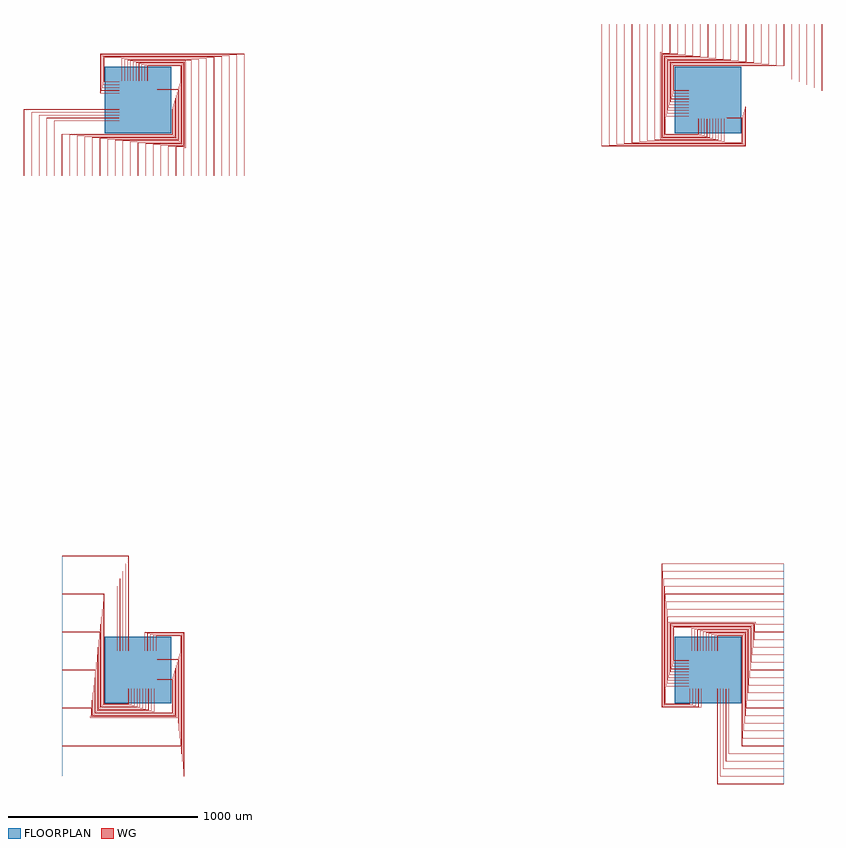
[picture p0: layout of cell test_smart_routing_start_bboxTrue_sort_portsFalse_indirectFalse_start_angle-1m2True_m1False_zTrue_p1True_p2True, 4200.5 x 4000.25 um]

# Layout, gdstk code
import gdstk
lib = gdstk.Library(unit=1e-6, precision=1e-09)
def R(c, l, rs):  # rectangles x0, y0, x1, y1
    for r in rs: c.add(gdstk.rectangle(r[:2], r[2:], *l))
def P(c, l, *ps):  # polygons
    for p in ps: c.add(gdstk.Polygon(p, *l))
WG = (1, 0)
FLOORPLAN = (10, 0)

test_smart_routing_start = lib.new_cell('test_smart_routing_start_bboxTrue_sort_portsFalse_indirectFalse_start_angle-1m2True_m1False_zTrue_p1True_p2True')
P(test_smart_routing_start, WG, [(3100,3050.05),(3100,3050.25),(3599.75,3050.25),(3599.75,3400),(3599.95,3400),(3599.95,3050.05)],
  [(3100,3049.75),(3100,3049.95),(3600.05,3049.95),(3600.05,3400),(3600.25,3400),(3600.25,3049.75)],
  [(3100,3065.05),(3100,3065.25),(3559.75,3065.25),(3559.75,3400),(3559.95,3400),(3559.95,3065.05)],
  [(3100,3064.75),(3100,3064.95),(3560.05,3064.95),(3560.05,3400),(3560.25,3400),(3560.25,3064.75)],
  [(3100,3080.05),(3100,3080.25),(3519.75,3080.25),(3519.75,3400),(3519.95,3400),(3519.95,3080.05)],
  [(3100,3079.75),(3100,3079.95),(3520.05,3079.95),(3520.05,3400),(3520.25,3400),(3520.25,3079.75)],
  [(3100,3095.05),(3100,3095.25),(3479.75,3095.25),(3479.75,3400),(3479.95,3400),(3479.95,3095.05)],
  [(3100,3094.75),(3100,3094.95),(3480.05,3094.95),(3480.05,3400),(3480.25,3400),(3480.25,3094.75)],
  [(3100,3110.05),(3100,3110.25),(3439.75,3110.25),(3439.75,3400),(3439.95,3400),(3439.95,3110.05)],
  [(3100,3109.75),(3100,3109.95),(3440.05,3109.95),(3440.05,3400),(3440.25,3400),(3440.25,3109.75)],
  [(2820.5,3049.75),(2820.5,3179.5),(3399.75,3179.5),(3399.75,3400),(3399.95,3400),(3399.95,3179.3),(2820.7,3179.3),(2820.7,3049.95),(2900,3049.95),(2900,3049.75)],
  [(2820.8,3050.05),(2820.8,3179.2),(3400.05,3179.2),(3400.05,3400),(3400.25,3400),(3400.25,3179),(2821,3179),(2821,3050.25),(2900,3050.25),(2900,3050.05)],
  [(2816,3034.75),(2816,3184),(3359.75,3184),(3359.75,3400),(3359.95,3400),(3359.95,3183.8),(2816.2,3183.8),(2816.2,3034.95),(2900,3034.95),(2900,3034.75)],
  [(2816.3,3035.05),(2816.3,3183.7),(3360.05,3183.7),(3360.05,3400),(3360.25,3400),(3360.25,3183.5),(2816.5,3183.5),(2816.5,3035.25),(2900,3035.25),(2900,3035.05)],
  [(2811.5,3019.75),(2811.5,3188.5),(3319.75,3188.5),(3319.75,3400),(3319.95,3400),(3319.95,3188.3),(2811.7,3188.3),(2811.7,3019.95),(2900,3019.95),(2900,3019.75)],
  [(2811.8,3020.05),(2811.8,3188.2),(3320.05,3188.2),(3320.05,3400),(3320.25,3400),(3320.25,3188),(2812,3188),(2812,3020.25),(2900,3020.25),(2900,3020.05)],
  [(2807,3004.75),(2807,3193),(3279.75,3193),(3279.75,3400),(3279.95,3400),(3279.95,3192.8),(2807.2,3192.8),(2807.2,3004.95),(2900,3004.95),(2900,3004.75)],
  [(2807.3,3005.05),(2807.3,3192.7),(3280.05,3192.7),(3280.05,3400),(3280.25,3400),(3280.25,3192.5),(2807.5,3192.5),(2807.5,3005.25),(2900,3005.25),(2900,3005.05)],
  [(2802.5,2989.75),(2802.5,3197.5),(3239.75,3197.5),(3239.75,3400),(3239.95,3400),(3239.95,3197.3),(2802.7,3197.3),(2802.7,2989.95),(2900,2989.95),(2900,2989.75)],
  [(2802.8,2990.05),(2802.8,3197.2),(3240.05,3197.2),(3240.05,3400),(3240.25,3400),(3240.25,3197),(2803,3197),(2803,2990.25),(2900,2990.25),(2900,2990.05)],
  [(2798,2974.75),(2798,3202),(3199.75,3202),(3199.75,3400),(3199.95,3400),(3199.95,3201.8),(2798.2,3201.8),(2798.2,2974.95),(2900,2974.95),(2900,2974.75)],
  [(2798.3,2975.05),(2798.3,3201.7),(3200.05,3201.7),(3200.05,3400),(3200.25,3400),(3200.25,3201.5),(2798.5,3201.5),(2798.5,2975.25),(2900,2975.25),(2900,2975.05)],
  [(2793.5,2959.75),(2793.5,3206.5),(3159.75,3206.5),(3159.75,3400),(3159.95,3400),(3159.95,3206.3),(2793.7,3206.3),(2793.7,2959.95),(2900,2959.95),(2900,2959.75)],
  [(2793.8,2960.05),(2793.8,3206.2),(3160.05,3206.2),(3160.05,3400),(3160.25,3400),(3160.25,3206),(2794,3206),(2794,2960.25),(2900,2960.25),(2900,2960.05)],
  [(2789,2944.75),(2789,3211),(3119.75,3211),(3119.75,3400),(3119.95,3400),(3119.95,3210.8),(2789.2,3210.8),(2789.2,2944.95),(2900,2944.95),(2900,2944.75)],
  [(2789.3,2945.05),(2789.3,3210.7),(3120.05,3210.7),(3120.05,3400),(3120.25,3400),(3120.25,3210.5),(2789.5,3210.5),(2789.5,2945.25),(2900,2945.25),(2900,2945.05)],
  [(2784.5,2929.75),(2784.5,3215.5),(3079.75,3215.5),(3079.75,3400),(3079.95,3400),(3079.95,3215.3),(2784.7,3215.3),(2784.7,2929.95),(2900,2929.95),(2900,2929.75)],
  [(2784.8,2930.05),(2784.8,3215.2),(3080.05,3215.2),(3080.05,3400),(3080.25,3400),(3080.25,3215),(2785,3215),(2785,2930.25),(2900,2930.25),(2900,2930.05)],
  [(2780,2914.75),(2780,3220),(3039.75,3220),(3039.75,3400),(3039.95,3400),(3039.95,3219.8),(2780.2,3219.8),(2780.2,2914.95),(2900,2914.95),(2900,2914.75)],
  [(2780.3,2915.05),(2780.3,3219.7),(3040.05,3219.7),(3040.05,3400),(3040.25,3400),(3040.25,3219.5),(2780.5,3219.5),(2780.5,2915.25),(2900,2915.25),(2900,2915.05)],
  [(2775.5,2820.5),(2775.5,3224.5),(2999.75,3224.5),(2999.75,3400),(2999.95,3400),(2999.95,3224.3),(2775.7,3224.3),(2775.7,2820.7),(2950.05,2820.7),(2950.05,2900),(2950.25,2900),(2950.25,2820.5)],
  [(2775.8,2820.8),(2775.8,3224.2),(3000.05,3224.2),(3000.05,3400),(3000.25,3400),(3000.25,3224),(2776,3224),(2776,2821),(2949.75,2821),(2949.75,2900),(2949.95,2900),(2949.95,2820.8)],
  [(2771,2816),(2771,3229),(2959.75,3229),(2959.75,3400),(2959.95,3400),(2959.95,3228.8),(2771.2,3228.8),(2771.2,2816.2),(2965.05,2816.2),(2965.05,2900),(2965.25,2900),(2965.25,2816)],
  [(2771.3,2816.3),(2771.3,3228.7),(2960.05,3228.7),(2960.05,3400),(2960.25,3400),(2960.25,3228.5),(2771.5,3228.5),(2771.5,2816.5),(2964.75,2816.5),(2964.75,2900),(2964.95,2900),(2964.95,2816.3)],
  [(2766.5,2811.5),(2766.5,3233.5),(2919.75,3233.5),(2919.75,3400),(2919.95,3400),(2919.95,3233.3),(2766.7,3233.3),(2766.7,2811.7),(2980.05,2811.7),(2980.05,2900),(2980.25,2900),(2980.25,2811.5)],
  [(2766.8,2811.8),(2766.8,3233.2),(2920.05,3233.2),(2920.05,3400),(2920.25,3400),(2920.25,3233),(2767,3233),(2767,2812),(2979.75,2812),(2979.75,2900),(2979.95,2900),(2979.95,2811.8)],
  [(2762,2807),(2762,3238),(2879.75,3238),(2879.75,3400),(2879.95,3400),(2879.95,3237.8),(2762.2,3237.8),(2762.2,2807.2),(2995.05,2807.2),(2995.05,2900),(2995.25,2900),(2995.25,2807)],
  [(2762.3,2807.3),(2762.3,3237.7),(2880.05,3237.7),(2880.05,3400),(2880.25,3400),(2880.25,3237.5),(2762.5,3237.5),(2762.5,2807.5),(2994.75,2807.5),(2994.75,2900),(2994.95,2900),(2994.95,2807.3)],
  [(2757.5,2802.5),(2757.5,3242.5),(2839.75,3242.5),(2839.75,3400),(2839.95,3400),(2839.95,3242.3),(2757.7,3242.3),(2757.7,2802.7),(3010.05,2802.7),(3010.05,2900),(3010.25,2900),(3010.25,2802.5)],
  [(2757.8,2802.8),(2757.8,3242.2),(2840.05,3242.2),(2840.05,3400),(2840.25,3400),(2840.25,3242),(2758,3242),(2758,2803),(3009.75,2803),(3009.75,2900),(3009.95,2900),(3009.95,2802.8)],
  [(2753,2798),(2753,3247),(2799.75,3247),(2799.75,3400),(2799.95,3400),(2799.95,3246.8),(2753.2,3246.8),(2753.2,2798.2),(3025.05,2798.2),(3025.05,2900),(3025.25,2900),(3025.25,2798)],
  [(2753.3,2798.3),(2753.3,3246.7),(2800.05,3246.7),(2800.05,3400),(2800.25,3400),(2800.25,3246.5),(2753.5,3246.5),(2753.5,2798.5),(3024.75,2798.5),(3024.75,2900),(3024.95,2900),(3024.95,2798.3)],
  [(2748.5,2793.5),(2748.5,3251.5),(2759.75,3251.5),(2759.75,3400),(2759.95,3400),(2759.95,3251.3),(2748.7,3251.3),(2748.7,2793.7),(3040.05,2793.7),(3040.05,2900),(3040.25,2900),(3040.25,2793.5)],
  [(2748.8,2793.8),(2748.8,3251.2),(2760.05,3251.2),(2760.05,3400),(2760.25,3400),(2760.25,3251),(2749,3251),(2749,2794),(3039.75,2794),(3039.75,2900),(3039.95,2900),(3039.95,2793.8)],
  [(2719.75,2789),(2719.75,3400),(2719.95,3400),(2719.95,2789.2),(3055.05,2789.2),(3055.05,2900),(3055.25,2900),(3055.25,2789)],
  [(2720.05,2789.3),(2720.05,3400),(2720.25,3400),(2720.25,2789.5),(3054.75,2789.5),(3054.75,2900),(3054.95,2900),(3054.95,2789.3)],
  [(2679.75,2784.5),(2679.75,3400),(2679.95,3400),(2679.95,2784.7),(3070.05,2784.7),(3070.05,2900),(3070.25,2900),(3070.25,2784.5)],
  [(2680.05,2784.8),(2680.05,3400),(2680.25,3400),(2680.25,2785),(3069.75,2785),(3069.75,2900),(3069.95,2900),(3069.95,2784.8)],
  [(2639.75,2780),(2639.75,3400),(2639.95,3400),(2639.95,2780.2),(3085.05,2780.2),(3085.05,2900),(3085.25,2900),(3085.25,2780)],
  [(2640.05,2780.3),(2640.05,3400),(2640.25,3400),(2640.25,2780.5),(3084.75,2780.5),(3084.75,2900),(3084.95,2900),(3084.95,2780.3)],
  [(2439.75,2757.5),(2439.75,3400),(2439.95,3400),(2439.95,2757.7),(3197.3,2757.7),(3197.3,2965.05),(3100,2965.05),(3100,2965.25),(3197.5,2965.25),(3197.5,2757.5)],
  [(2440.05,2757.8),(2440.05,3400),(2440.25,3400),(2440.25,2758),(3197,2758),(3197,2964.75),(3100,2964.75),(3100,2964.95),(3197.2,2964.95),(3197.2,2757.8)],
  [(2479.75,2762),(2479.75,3400),(2479.95,3400),(2479.95,2762.2),(3192.8,2762.2),(3192.8,2950.05),(3100,2950.05),(3100,2950.25),(3193,2950.25),(3193,2762)],
  [(2480.05,2762.3),(2480.05,3400),(2480.25,3400),(2480.25,2762.5),(3192.5,2762.5),(3192.5,2949.75),(3100,2949.75),(3100,2949.95),(3192.7,2949.95),(3192.7,2762.3)],
  [(2519.75,2766.5),(2519.75,3400),(2519.95,3400),(2519.95,2766.7),(3188.3,2766.7),(3188.3,2935.05),(3100,2935.05),(3100,2935.25),(3188.5,2935.25),(3188.5,2766.5)],
  [(2520.05,2766.8),(2520.05,3400),(2520.25,3400),(2520.25,2767),(3188,2767),(3188,2934.75),(3100,2934.75),(3100,2934.95),(3188.2,2934.95),(3188.2,2766.8)],
  [(2559.75,2771),(2559.75,3400),(2559.95,3400),(2559.95,2771.2),(3183.8,2771.2),(3183.8,2920.05),(3100,2920.05),(3100,2920.25),(3184,2920.25),(3184,2771)],
  [(2560.05,2771.3),(2560.05,3400),(2560.25,3400),(2560.25,2771.5),(3183.5,2771.5),(3183.5,2919.75),(3100,2919.75),(3100,2919.95),(3183.7,2919.95),(3183.7,2771.3)],
  [(2599.75,2775.5),(2599.75,3400),(2599.95,3400),(2599.95,2775.7),(3179.3,2775.7),(3179.3,2905.05),(3100,2905.05),(3100,2905.25),(3179.5,2905.25),(3179.5,2775.5)],
  [(2600.05,2775.8),(2600.05,3400),(2600.25,3400),(2600.25,2776),(3179,2776),(3179,2904.75),(3100,2904.75),(3100,2904.95),(3179.2,2904.95),(3179.2,2775.8)],
  [(-599.95,2600),(-599.95,2949.95),(-100,2949.95),(-100,2949.75),(-599.75,2949.75),(-599.75,2600)],
  [(-600.25,2600),(-600.25,2950.25),(-100,2950.25),(-100,2950.05),(-600.05,2950.05),(-600.05,2600)],
  [(-559.95,2600),(-559.95,2934.95),(-100,2934.95),(-100,2934.75),(-559.75,2934.75),(-559.75,2600)],
  [(-560.25,2600),(-560.25,2935.25),(-100,2935.25),(-100,2935.05),(-560.05,2935.05),(-560.05,2600)],
  [(-519.95,2600),(-519.95,2919.95),(-100,2919.95),(-100,2919.75),(-519.75,2919.75),(-519.75,2600)],
  [(-520.25,2600),(-520.25,2920.25),(-100,2920.25),(-100,2920.05),(-520.05,2920.05),(-520.05,2600)],
  [(-479.95,2600),(-479.95,2904.95),(-100,2904.95),(-100,2904.75),(-479.75,2904.75),(-479.75,2600)],
  [(-480.25,2600),(-480.25,2905.25),(-100,2905.25),(-100,2905.05),(-480.05,2905.05),(-480.05,2600)],
  [(-439.95,2600),(-439.95,2889.95),(-100,2889.95),(-100,2889.75),(-439.75,2889.75),(-439.75,2600)],
  [(-440.25,2600),(-440.25,2890.25),(-100,2890.25),(-100,2890.05),(-440.05,2890.05),(-440.05,2600)],
  [(-400.25,2600),(-400.25,2821),(179,2821),(179,2949.75),(100,2949.75),(100,2949.95),(179.2,2949.95),(179.2,2820.8),(-400.05,2820.8),(-400.05,2600)],
  [(-399.95,2600),(-399.95,2820.7),(179.3,2820.7),(179.3,2950.05),(100,2950.05),(100,2950.25),(179.5,2950.25),(179.5,2820.5),(-399.75,2820.5),(-399.75,2600)],
  [(-360.25,2600),(-360.25,2816.5),(183.5,2816.5),(183.5,2964.75),(100,2964.75),(100,2964.95),(183.7,2964.95),(183.7,2816.3),(-360.05,2816.3),(-360.05,2600)],
  [(-359.95,2600),(-359.95,2816.2),(183.8,2816.2),(183.8,2965.05),(100,2965.05),(100,2965.25),(184,2965.25),(184,2816),(-359.75,2816),(-359.75,2600)],
  [(-320.25,2600),(-320.25,2812),(188,2812),(188,2979.75),(100,2979.75),(100,2979.95),(188.2,2979.95),(188.2,2811.8),(-320.05,2811.8),(-320.05,2600)],
  [(-319.95,2600),(-319.95,2811.7),(188.3,2811.7),(188.3,2980.05),(100,2980.05),(100,2980.25),(188.5,2980.25),(188.5,2811.5),(-319.75,2811.5),(-319.75,2600)],
  [(-280.25,2600),(-280.25,2807.5),(192.5,2807.5),(192.5,2994.75),(100,2994.75),(100,2994.95),(192.7,2994.95),(192.7,2807.3),(-280.05,2807.3),(-280.05,2600)],
  [(-279.95,2600),(-279.95,2807.2),(192.8,2807.2),(192.8,2995.05),(100,2995.05),(100,2995.25),(193,2995.25),(193,2807),(-279.75,2807),(-279.75,2600)],
  [(-240.25,2600),(-240.25,2803),(197,2803),(197,3009.75),(100,3009.75),(100,3009.95),(197.2,3009.95),(197.2,2802.8),(-240.05,2802.8),(-240.05,2600)],
  [(-239.95,2600),(-239.95,2802.7),(197.3,2802.7),(197.3,3010.05),(100,3010.05),(100,3010.25),(197.5,3010.25),(197.5,2802.5),(-239.75,2802.5),(-239.75,2600)],
  [(-200.25,2600),(-200.25,2798.5),(201.5,2798.5),(201.5,3024.75),(100,3024.75),(100,3024.95),(201.7,3024.95),(201.7,2798.3),(-200.05,2798.3),(-200.05,2600)],
  [(-199.95,2600),(-199.95,2798.2),(201.8,2798.2),(201.8,3025.05),(100,3025.05),(100,3025.25),(202,3025.25),(202,2798),(-199.75,2798),(-199.75,2600)],
  [(-160.25,2600),(-160.25,2794),(206,2794),(206,3039.75),(100,3039.75),(100,3039.95),(206.2,3039.95),(206.2,2793.8),(-160.05,2793.8),(-160.05,2600)],
  [(-159.95,2600),(-159.95,2793.7),(206.3,2793.7),(206.3,3040.05),(100,3040.05),(100,3040.25),(206.5,3040.25),(206.5,2793.5),(-159.75,2793.5),(-159.75,2600)],
  [(-120.25,2600),(-120.25,2789.5),(210.5,2789.5),(210.5,3054.75),(100,3054.75),(100,3054.95),(210.7,3054.95),(210.7,2789.3),(-120.05,2789.3),(-120.05,2600)],
  [(-119.95,2600),(-119.95,2789.2),(210.8,2789.2),(210.8,3055.05),(100,3055.05),(100,3055.25),(211,3055.25),(211,2789),(-119.75,2789),(-119.75,2600)],
  [(-80.25,2600),(-80.25,2785),(215,2785),(215,3069.75),(100,3069.75),(100,3069.95),(215.2,3069.95),(215.2,2784.8),(-80.05,2784.8),(-80.05,2600)],
  [(-79.95,2600),(-79.95,2784.7),(215.3,2784.7),(215.3,3070.05),(100,3070.05),(100,3070.25),(215.5,3070.25),(215.5,2784.5),(-79.75,2784.5),(-79.75,2600)],
  [(-40.25,2600),(-40.25,2780.5),(219.5,2780.5),(219.5,3084.75),(100,3084.75),(100,3084.95),(219.7,3084.95),(219.7,2780.3),(-40.05,2780.3),(-40.05,2600)],
  [(-39.95,2600),(-39.95,2780.2),(219.8,2780.2),(219.8,3085.05),(100,3085.05),(100,3085.25),(220,3085.25),(220,2780),(-39.75,2780),(-39.75,2600)],
  [(-0.25,2600),(-0.25,2776),(224,2776),(224,3179),(50.25,3179),(50.25,3100),(50.05,3100),(50.05,3179.2),(224.2,3179.2),(224.2,2775.8),(-0.05,2775.8),(-0.05,2600)],
  [(0.05,2600),(0.05,2775.7),(224.3,2775.7),(224.3,3179.3),(49.95,3179.3),(49.95,3100),(49.75,3100),(49.75,3179.5),(224.5,3179.5),(224.5,2775.5),(0.25,2775.5),(0.25,2600)],
  [(39.75,2600),(39.75,2771.5),(228.5,2771.5),(228.5,3183.5),(35.25,3183.5),(35.25,3100),(35.05,3100),(35.05,3183.7),(228.7,3183.7),(228.7,2771.3),(39.95,2771.3),(39.95,2600)],
  [(40.05,2600),(40.05,2771.2),(228.8,2771.2),(228.8,3183.8),(34.95,3183.8),(34.95,3100),(34.75,3100),(34.75,3184),(229,3184),(229,2771),(40.25,2771),(40.25,2600)],
  [(79.75,2600),(79.75,2767),(233,2767),(233,3188),(20.25,3188),(20.25,3100),(20.05,3100),(20.05,3188.2),(233.2,3188.2),(233.2,2766.8),(79.95,2766.8),(79.95,2600)],
  [(80.05,2600),(80.05,2766.7),(233.3,2766.7),(233.3,3188.3),(19.95,3188.3),(19.95,3100),(19.75,3100),(19.75,3188.5),(233.5,3188.5),(233.5,2766.5),(80.25,2766.5),(80.25,2600)],
  [(119.75,2600),(119.75,2762.5),(237.5,2762.5),(237.5,3192.5),(5.25,3192.5),(5.25,3100),(5.05,3100),(5.05,3192.7),(237.7,3192.7),(237.7,2762.3),(119.95,2762.3),(119.95,2600)],
  [(120.05,2600),(120.05,2762.2),(237.8,2762.2),(237.8,3192.8),(4.95,3192.8),(4.95,3100),(4.75,3100),(4.75,3193),(238,3193),(238,2762),(120.25,2762),(120.25,2600)],
  [(159.75,2600),(159.75,2758),(242,2758),(242,3197),(-9.75,3197),(-9.75,3100),(-9.95,3100),(-9.95,3197.2),(242.2,3197.2),(242.2,2757.8),(159.95,2757.8),(159.95,2600)],
  [(160.05,2600),(160.05,2757.7),(242.3,2757.7),(242.3,3197.3),(-10.05,3197.3),(-10.05,3100),(-10.25,3100),(-10.25,3197.5),(242.5,3197.5),(242.5,2757.5),(160.25,2757.5),(160.25,2600)],
  [(199.75,2600),(199.75,2753.5),(246.5,2753.5),(246.5,3201.5),(-24.75,3201.5),(-24.75,3100),(-24.95,3100),(-24.95,3201.7),(246.7,3201.7),(246.7,2753.3),(199.95,2753.3),(199.95,2600)],
  [(200.05,2600),(200.05,2753.2),(246.8,2753.2),(246.8,3201.8),(-25.05,3201.8),(-25.05,3100),(-25.25,3100),(-25.25,3202),(247,3202),(247,2753),(200.25,2753),(200.25,2600)],
  [(239.75,2600),(239.75,2749),(251,2749),(251,3206),(-39.75,3206),(-39.75,3100),(-39.95,3100),(-39.95,3206.2),(251.2,3206.2),(251.2,2748.8),(239.95,2748.8),(239.95,2600)],
  [(240.05,2600),(240.05,2748.7),(251.3,2748.7),(251.3,3206.3),(-40.05,3206.3),(-40.05,3100),(-40.25,3100),(-40.25,3206.5),(251.5,3206.5),(251.5,2748.5),(240.25,2748.5),(240.25,2600)],
  [(279.75,2600),(279.75,3210.5),(-54.75,3210.5),(-54.75,3100),(-54.95,3100),(-54.95,3210.7),(279.95,3210.7),(279.95,2600)],
  [(280.05,2600),(280.05,3210.8),(-55.05,3210.8),(-55.05,3100),(-55.25,3100),(-55.25,3211),(280.25,3211),(280.25,2600)],
  [(319.75,2600),(319.75,3215),(-69.75,3215),(-69.75,3100),(-69.95,3100),(-69.95,3215.2),(319.95,3215.2),(319.95,2600)],
  [(320.05,2600),(320.05,3215.3),(-70.05,3215.3),(-70.05,3100),(-70.25,3100),(-70.25,3215.5),(320.25,3215.5),(320.25,2600)],
  [(359.75,2600),(359.75,3219.5),(-84.75,3219.5),(-84.75,3100),(-84.95,3100),(-84.95,3219.7),(359.95,3219.7),(359.95,2600)],
  [(360.05,2600),(360.05,3219.8),(-85.05,3219.8),(-85.05,3100),(-85.25,3100),(-85.25,3220),(360.25,3220),(360.25,2600)],
  [(559.75,2600),(559.75,3242),(-197,3242),(-197,3035.25),(-100,3035.25),(-100,3035.05),(-197.2,3035.05),(-197.2,3242.2),(559.95,3242.2),(559.95,2600)],
  [(560.05,2600),(560.05,3242.3),(-197.3,3242.3),(-197.3,3034.95),(-100,3034.95),(-100,3034.75),(-197.5,3034.75),(-197.5,3242.5),(560.25,3242.5),(560.25,2600)],
  [(519.75,2600),(519.75,3237.5),(-192.5,3237.5),(-192.5,3050.25),(-100,3050.25),(-100,3050.05),(-192.7,3050.05),(-192.7,3237.7),(519.95,3237.7),(519.95,2600)],
  [(520.05,2600),(520.05,3237.8),(-192.8,3237.8),(-192.8,3049.95),(-100,3049.95),(-100,3049.75),(-193,3049.75),(-193,3238),(520.25,3238),(520.25,2600)],
  [(479.75,2600),(479.75,3233),(-188,3233),(-188,3065.25),(-100,3065.25),(-100,3065.05),(-188.2,3065.05),(-188.2,3233.2),(479.95,3233.2),(479.95,2600)],
  [(480.05,2600),(480.05,3233.3),(-188.3,3233.3),(-188.3,3064.95),(-100,3064.95),(-100,3064.75),(-188.5,3064.75),(-188.5,3233.5),(480.25,3233.5),(480.25,2600)],
  [(439.75,2600),(439.75,3228.5),(-183.5,3228.5),(-183.5,3080.25),(-100,3080.25),(-100,3080.05),(-183.7,3080.05),(-183.7,3228.7),(439.95,3228.7),(439.95,2600)],
  [(440.05,2600),(440.05,3228.8),(-183.8,3228.8),(-183.8,3079.95),(-100,3079.95),(-100,3079.75),(-184,3079.75),(-184,3229),(440.25,3229),(440.25,2600)],
  [(399.75,2600),(399.75,3224),(-179,3224),(-179,3095.25),(-100,3095.25),(-100,3095.05),(-179.2,3095.05),(-179.2,3224.2),(399.95,3224.2),(399.95,2600)],
  [(400.05,2600),(400.05,3224.3),(-179.3,3224.3),(-179.3,3094.95),(-100,3094.95),(-100,3094.75),(-179.5,3094.75),(-179.5,3224.5),(400.25,3224.5),(400.25,2600)],
  [(-50.25,100),(-50.25,599.75),(-400,599.75),(-400,599.95),(-50.05,599.95),(-50.05,100)],
  [(-49.95,100),(-49.95,600.05),(-400,600.05),(-400,600.25),(-49.75,600.25),(-49.75,100)],
  [(-65.25,100),(-65.25,559.75),(-400,559.75),(-400,559.95),(-65.05,559.95),(-65.05,100)],
  [(-64.95,100),(-64.95,560.05),(-400,560.05),(-400,560.25),(-64.75,560.25),(-64.75,100)],
  [(-80.25,100),(-80.25,519.75),(-400,519.75),(-400,519.95),(-80.05,519.95),(-80.05,100)],
  [(-79.95,100),(-79.95,520.05),(-400,520.05),(-400,520.25),(-79.75,520.25),(-79.75,100)],
  [(-95.25,100),(-95.25,479.75),(-400,479.75),(-400,479.95),(-95.05,479.95),(-95.05,100)],
  [(-94.95,100),(-94.95,480.05),(-400,480.05),(-400,480.25),(-94.75,480.25),(-94.75,100)],
  [(-110.25,100),(-110.25,439.75),(-400,439.75),(-400,439.95),(-110.05,439.95),(-110.05,100)],
  [(-109.95,100),(-109.95,440.05),(-400,440.05),(-400,440.25),(-109.75,440.25),(-109.75,100)],
  [(-179.5,-179.5),(-179.5,399.75),(-400,399.75),(-400,399.95),(-179.3,399.95),(-179.3,-179.3),(-49.95,-179.3),(-49.95,-100),(-49.75,-100),(-49.75,-179.5)],
  [(-179.2,-179.2),(-179.2,400.05),(-400,400.05),(-400,400.25),(-179,400.25),(-179,-179),(-50.25,-179),(-50.25,-100),(-50.05,-100),(-50.05,-179.2)],
  [(-184,-184),(-184,359.75),(-400,359.75),(-400,359.95),(-183.8,359.95),(-183.8,-183.8),(-34.95,-183.8),(-34.95,-100),(-34.75,-100),(-34.75,-184)],
  [(-183.7,-183.7),(-183.7,360.05),(-400,360.05),(-400,360.25),(-183.5,360.25),(-183.5,-183.5),(-35.25,-183.5),(-35.25,-100),(-35.05,-100),(-35.05,-183.7)],
  [(-188.5,-188.5),(-188.5,319.75),(-400,319.75),(-400,319.95),(-188.3,319.95),(-188.3,-188.3),(-19.95,-188.3),(-19.95,-100),(-19.75,-100),(-19.75,-188.5)],
  [(-188.2,-188.2),(-188.2,320.05),(-400,320.05),(-400,320.25),(-188,320.25),(-188,-188),(-20.25,-188),(-20.25,-100),(-20.05,-100),(-20.05,-188.2)],
  [(-193,-193),(-193,279.75),(-400,279.75),(-400,279.95),(-192.8,279.95),(-192.8,-192.8),(-4.95,-192.8),(-4.95,-100),(-4.75,-100),(-4.75,-193)],
  [(-192.7,-192.7),(-192.7,280.05),(-400,280.05),(-400,280.25),(-192.5,280.25),(-192.5,-192.5),(-5.25,-192.5),(-5.25,-100),(-5.05,-100),(-5.05,-192.7)],
  [(-197.5,-197.5),(-197.5,239.75),(-400,239.75),(-400,239.95),(-197.3,239.95),(-197.3,-197.3),(10.05,-197.3),(10.05,-100),(10.25,-100),(10.25,-197.5)],
  [(-197.2,-197.2),(-197.2,240.05),(-400,240.05),(-400,240.25),(-197,240.25),(-197,-197),(9.75,-197),(9.75,-100),(9.95,-100),(9.95,-197.2)],
  [(-202,-202),(-202,199.75),(-400,199.75),(-400,199.95),(-201.8,199.95),(-201.8,-201.8),(25.05,-201.8),(25.05,-100),(25.25,-100),(25.25,-202)],
  [(-201.7,-201.7),(-201.7,200.05),(-400,200.05),(-400,200.25),(-201.5,200.25),(-201.5,-201.5),(24.75,-201.5),(24.75,-100),(24.95,-100),(24.95,-201.7)],
  [(-206.5,-206.5),(-206.5,159.75),(-400,159.75),(-400,159.95),(-206.3,159.95),(-206.3,-206.3),(40.05,-206.3),(40.05,-100),(40.25,-100),(40.25,-206.5)],
  [(-206.2,-206.2),(-206.2,160.05),(-400,160.05),(-400,160.25),(-206,160.25),(-206,-206),(39.75,-206),(39.75,-100),(39.95,-100),(39.95,-206.2)],
  [(-211,-211),(-211,119.75),(-400,119.75),(-400,119.95),(-210.8,119.95),(-210.8,-210.8),(55.05,-210.8),(55.05,-100),(55.25,-100),(55.25,-211)],
  [(-210.7,-210.7),(-210.7,120.05),(-400,120.05),(-400,120.25),(-210.5,120.25),(-210.5,-210.5),(54.75,-210.5),(54.75,-100),(54.95,-100),(54.95,-210.7)],
  [(-215.5,-215.5),(-215.5,79.75),(-400,79.75),(-400,79.95),(-215.3,79.95),(-215.3,-215.3),(70.05,-215.3),(70.05,-100),(70.25,-100),(70.25,-215.5)],
  [(-215.2,-215.2),(-215.2,80.05),(-400,80.05),(-400,80.25),(-215,80.25),(-215,-215),(69.75,-215),(69.75,-100),(69.95,-100),(69.95,-215.2)],
  [(-220,-220),(-220,39.75),(-400,39.75),(-400,39.95),(-219.8,39.95),(-219.8,-219.8),(85.05,-219.8),(85.05,-100),(85.25,-100),(85.25,-220)],
  [(-219.7,-219.7),(-219.7,40.05),(-400,40.05),(-400,40.25),(-219.5,40.25),(-219.5,-219.5),(84.75,-219.5),(84.75,-100),(84.95,-100),(84.95,-219.7)],
  [(-224.5,-224.5),(-224.5,-0.25),(-400,-0.25),(-400,-0.05),(-224.3,-0.05),(-224.3,-224.3),(179.3,-224.3),(179.3,-49.95),(100,-49.95),(100,-49.75),(179.5,-49.75),(179.5,-224.5)],
  [(-224.2,-224.2),(-224.2,0.05),(-400,0.05),(-400,0.25),(-224,0.25),(-224,-224),(179,-224),(179,-50.25),(100,-50.25),(100,-50.05),(179.2,-50.05),(179.2,-224.2)],
  [(-228.7,-228.7),(-228.7,-39.95),(-400,-39.95),(-400,-39.75),(-228.5,-39.75),(-228.5,-228.5),(183.5,-228.5),(183.5,-35.25),(100,-35.25),(100,-35.05),(183.7,-35.05),(183.7,-228.7)],
  [(-229,-229),(-229,-40.25),(-400,-40.25),(-400,-40.05),(-228.8,-40.05),(-228.8,-228.8),(183.8,-228.8),(183.8,-34.95),(100,-34.95),(100,-34.75),(184,-34.75),(184,-229)],
  [(-233.2,-233.2),(-233.2,-79.95),(-400,-79.95),(-400,-79.75),(-233,-79.75),(-233,-233),(188,-233),(188,-20.25),(100,-20.25),(100,-20.05),(188.2,-20.05),(188.2,-233.2)],
  [(-233.5,-233.5),(-233.5,-80.25),(-400,-80.25),(-400,-80.05),(-233.3,-80.05),(-233.3,-233.3),(188.3,-233.3),(188.3,-19.95),(100,-19.95),(100,-19.75),(188.5,-19.75),(188.5,-233.5)],
  [(-237.7,-237.7),(-237.7,-119.95),(-400,-119.95),(-400,-119.75),(-237.5,-119.75),(-237.5,-237.5),(192.5,-237.5),(192.5,-5.25),(100,-5.25),(100,-5.05),(192.7,-5.05),(192.7,-237.7)],
  [(-238,-238),(-238,-120.25),(-400,-120.25),(-400,-120.05),(-237.8,-120.05),(-237.8,-237.8),(192.8,-237.8),(192.8,-4.95),(100,-4.95),(100,-4.75),(193,-4.75),(193,-238)],
  [(-242.2,-242.2),(-242.2,-159.95),(-400,-159.95),(-400,-159.75),(-242,-159.75),(-242,-242),(197,-242),(197,9.75),(100,9.75),(100,9.95),(197.2,9.95),(197.2,-242.2)],
  [(-242.5,-242.5),(-242.5,-160.25),(-400,-160.25),(-400,-160.05),(-242.3,-160.05),(-242.3,-242.3),(197.3,-242.3),(197.3,10.05),(100,10.05),(100,10.25),(197.5,10.25),(197.5,-242.5)],
  [(-246.7,-246.7),(-246.7,-199.95),(-400,-199.95),(-400,-199.75),(-246.5,-199.75),(-246.5,-246.5),(201.5,-246.5),(201.5,24.75),(100,24.75),(100,24.95),(201.7,24.95),(201.7,-246.7)],
  [(-247,-247),(-247,-200.25),(-400,-200.25),(-400,-200.05),(-246.8,-200.05),(-246.8,-246.8),(201.8,-246.8),(201.8,25.05),(100,25.05),(100,25.25),(202,25.25),(202,-247)],
  [(-251.2,-251.2),(-251.2,-239.95),(-400,-239.95),(-400,-239.75),(-251,-239.75),(-251,-251),(206,-251),(206,39.75),(100,39.75),(100,39.95),(206.2,39.95),(206.2,-251.2)],
  [(-251.5,-251.5),(-251.5,-240.25),(-400,-240.25),(-400,-240.05),(-251.3,-240.05),(-251.3,-251.3),(206.3,-251.3),(206.3,40.05),(100,40.05),(100,40.25),(206.5,40.25),(206.5,-251.5)],
  [(-400,-279.95),(-400,-279.75),(210.5,-279.75),(210.5,54.75),(100,54.75),(100,54.95),(210.7,54.95),(210.7,-279.95)],
  [(-400,-280.25),(-400,-280.05),(210.8,-280.05),(210.8,55.05),(100,55.05),(100,55.25),(211,55.25),(211,-280.25)],
  [(-400,-319.95),(-400,-319.75),(215,-319.75),(215,69.75),(100,69.75),(100,69.95),(215.2,69.95),(215.2,-319.95)],
  [(-400,-320.25),(-400,-320.05),(215.3,-320.05),(215.3,70.05),(100,70.05),(100,70.25),(215.5,70.25),(215.5,-320.25)],
  [(-400,-359.95),(-400,-359.75),(219.5,-359.75),(219.5,84.75),(100,84.75),(100,84.95),(219.7,84.95),(219.7,-359.95)],
  [(-400,-360.25),(-400,-360.05),(219.8,-360.05),(219.8,85.05),(100,85.05),(100,85.25),(220,85.25),(220,-360.25)],
  [(-400,-559.95),(-400,-559.75),(242,-559.75),(242,197),(35.25,197),(35.25,100),(35.05,100),(35.05,197.2),(242.2,197.2),(242.2,-559.95)],
  [(-400,-560.25),(-400,-560.05),(242.3,-560.05),(242.3,197.3),(34.95,197.3),(34.95,100),(34.75,100),(34.75,197.5),(242.5,197.5),(242.5,-560.25)],
  [(-400,-519.95),(-400,-519.75),(237.5,-519.75),(237.5,192.5),(50.25,192.5),(50.25,100),(50.05,100),(50.05,192.7),(237.7,192.7),(237.7,-519.95)],
  [(-400,-520.25),(-400,-520.05),(237.8,-520.05),(237.8,192.8),(49.95,192.8),(49.95,100),(49.75,100),(49.75,193),(238,193),(238,-520.25)],
  [(-400,-479.95),(-400,-479.75),(233,-479.75),(233,188),(65.25,188),(65.25,100),(65.05,100),(65.05,188.2),(233.2,188.2),(233.2,-479.95)],
  [(-400,-480.25),(-400,-480.05),(233.3,-480.05),(233.3,188.3),(64.95,188.3),(64.95,100),(64.75,100),(64.75,188.5),(233.5,188.5),(233.5,-480.25)],
  [(-400,-439.95),(-400,-439.75),(228.5,-439.75),(228.5,183.5),(80.25,183.5),(80.25,100),(80.05,100),(80.05,183.7),(228.7,183.7),(228.7,-439.95)],
  [(-400,-440.25),(-400,-440.05),(228.8,-440.05),(228.8,183.8),(79.95,183.8),(79.95,100),(79.75,100),(79.75,184),(229,184),(229,-440.25)],
  [(-400,-399.95),(-400,-399.75),(224,-399.75),(224,179),(95.25,179),(95.25,100),(95.05,100),(95.05,179.2),(224.2,179.2),(224.2,-399.95)],
  [(-400,-400.25),(-400,-400.05),(224.3,-400.05),(224.3,179.3),(94.95,179.3),(94.95,100),(94.75,100),(94.75,179.5),(224.5,179.5),(224.5,-400.25)],
  [(3049.75,-600.25),(3049.75,-100),(3049.95,-100),(3049.95,-600.05),(3400,-600.05),(3400,-600.25)],
  [(3050.05,-599.95),(3050.05,-100),(3050.25,-100),(3050.25,-599.75),(3400,-599.75),(3400,-599.95)],
  [(3064.75,-560.25),(3064.75,-100),(3064.95,-100),(3064.95,-560.05),(3400,-560.05),(3400,-560.25)],
  [(3065.05,-559.95),(3065.05,-100),(3065.25,-100),(3065.25,-559.75),(3400,-559.75),(3400,-559.95)],
  [(3079.75,-520.25),(3079.75,-100),(3079.95,-100),(3079.95,-520.05),(3400,-520.05),(3400,-520.25)],
  [(3080.05,-519.95),(3080.05,-100),(3080.25,-100),(3080.25,-519.75),(3400,-519.75),(3400,-519.95)],
  [(3094.75,-480.25),(3094.75,-100),(3094.95,-100),(3094.95,-480.05),(3400,-480.05),(3400,-480.25)],
  [(3095.05,-479.95),(3095.05,-100),(3095.25,-100),(3095.25,-479.75),(3400,-479.75),(3400,-479.95)],
  [(3109.75,-440.25),(3109.75,-100),(3109.95,-100),(3109.95,-440.05),(3400,-440.05),(3400,-440.25)],
  [(3110.05,-439.95),(3110.05,-100),(3110.25,-100),(3110.25,-439.75),(3400,-439.75),(3400,-439.95)],
  [(3179,-400.25),(3179,179),(3050.25,179),(3050.25,100),(3050.05,100),(3050.05,179.2),(3179.2,179.2),(3179.2,-400.05),(3400,-400.05),(3400,-400.25)],
  [(3179.3,-399.95),(3179.3,179.3),(3049.95,179.3),(3049.95,100),(3049.75,100),(3049.75,179.5),(3179.5,179.5),(3179.5,-399.75),(3400,-399.75),(3400,-399.95)],
  [(3183.5,-360.25),(3183.5,183.5),(3035.25,183.5),(3035.25,100),(3035.05,100),(3035.05,183.7),(3183.7,183.7),(3183.7,-360.05),(3400,-360.05),(3400,-360.25)],
  [(3183.8,-359.95),(3183.8,183.8),(3034.95,183.8),(3034.95,100),(3034.75,100),(3034.75,184),(3184,184),(3184,-359.75),(3400,-359.75),(3400,-359.95)],
  [(3188,-320.25),(3188,188),(3020.25,188),(3020.25,100),(3020.05,100),(3020.05,188.2),(3188.2,188.2),(3188.2,-320.05),(3400,-320.05),(3400,-320.25)],
  [(3188.3,-319.95),(3188.3,188.3),(3019.95,188.3),(3019.95,100),(3019.75,100),(3019.75,188.5),(3188.5,188.5),(3188.5,-319.75),(3400,-319.75),(3400,-319.95)],
  [(3192.5,-280.25),(3192.5,192.5),(3005.25,192.5),(3005.25,100),(3005.05,100),(3005.05,192.7),(3192.7,192.7),(3192.7,-280.05),(3400,-280.05),(3400,-280.25)],
  [(3192.8,-279.95),(3192.8,192.8),(3004.95,192.8),(3004.95,100),(3004.75,100),(3004.75,193),(3193,193),(3193,-279.75),(3400,-279.75),(3400,-279.95)],
  [(3197,-240.25),(3197,197),(2990.25,197),(2990.25,100),(2990.05,100),(2990.05,197.2),(3197.2,197.2),(3197.2,-240.05),(3400,-240.05),(3400,-240.25)],
  [(3197.3,-239.95),(3197.3,197.3),(2989.95,197.3),(2989.95,100),(2989.75,100),(2989.75,197.5),(3197.5,197.5),(3197.5,-239.75),(3400,-239.75),(3400,-239.95)],
  [(3201.5,-200.25),(3201.5,201.5),(2975.25,201.5),(2975.25,100),(2975.05,100),(2975.05,201.7),(3201.7,201.7),(3201.7,-200.05),(3400,-200.05),(3400,-200.25)],
  [(3201.8,-199.95),(3201.8,201.8),(2974.95,201.8),(2974.95,100),(2974.75,100),(2974.75,202),(3202,202),(3202,-199.75),(3400,-199.75),(3400,-199.95)],
  [(3206,-160.25),(3206,206),(2960.25,206),(2960.25,100),(2960.05,100),(2960.05,206.2),(3206.2,206.2),(3206.2,-160.05),(3400,-160.05),(3400,-160.25)],
  [(3206.3,-159.95),(3206.3,206.3),(2959.95,206.3),(2959.95,100),(2959.75,100),(2959.75,206.5),(3206.5,206.5),(3206.5,-159.75),(3400,-159.75),(3400,-159.95)],
  [(3210.5,-120.25),(3210.5,210.5),(2945.25,210.5),(2945.25,100),(2945.05,100),(2945.05,210.7),(3210.7,210.7),(3210.7,-120.05),(3400,-120.05),(3400,-120.25)],
  [(3210.8,-119.95),(3210.8,210.8),(2944.95,210.8),(2944.95,100),(2944.75,100),(2944.75,211),(3211,211),(3211,-119.75),(3400,-119.75),(3400,-119.95)],
  [(3215,-80.25),(3215,215),(2930.25,215),(2930.25,100),(2930.05,100),(2930.05,215.2),(3215.2,215.2),(3215.2,-80.05),(3400,-80.05),(3400,-80.25)],
  [(3215.3,-79.95),(3215.3,215.3),(2929.95,215.3),(2929.95,100),(2929.75,100),(2929.75,215.5),(3215.5,215.5),(3215.5,-79.75),(3400,-79.75),(3400,-79.95)],
  [(3219.5,-40.25),(3219.5,219.5),(2915.25,219.5),(2915.25,100),(2915.05,100),(2915.05,219.7),(3219.7,219.7),(3219.7,-40.05),(3400,-40.05),(3400,-40.25)],
  [(3219.8,-39.95),(3219.8,219.8),(2914.95,219.8),(2914.95,100),(2914.75,100),(2914.75,220),(3220,220),(3220,-39.75),(3400,-39.75),(3400,-39.95)],
  [(3224,-0.25),(3224,224),(2821,224),(2821,50.25),(2900,50.25),(2900,50.05),(2820.8,50.05),(2820.8,224.2),(3224.2,224.2),(3224.2,-0.05),(3400,-0.05),(3400,-0.25)],
  [(3224.3,0.05),(3224.3,224.3),(2820.7,224.3),(2820.7,49.95),(2900,49.95),(2900,49.75),(2820.5,49.75),(2820.5,224.5),(3224.5,224.5),(3224.5,0.25),(3400,0.25),(3400,0.05)],
  [(2816.3,35.05),(2816.3,228.7),(3228.7,228.7),(3228.7,39.95),(3400,39.95),(3400,39.75),(3228.5,39.75),(3228.5,228.5),(2816.5,228.5),(2816.5,35.25),(2900,35.25),(2900,35.05)],
  [(2816,34.75),(2816,229),(3229,229),(3229,40.25),(3400,40.25),(3400,40.05),(3228.8,40.05),(3228.8,228.8),(2816.2,228.8),(2816.2,34.95),(2900,34.95),(2900,34.75)],
  [(2811.8,20.05),(2811.8,233.2),(3233.2,233.2),(3233.2,79.95),(3400,79.95),(3400,79.75),(3233,79.75),(3233,233),(2812,233),(2812,20.25),(2900,20.25),(2900,20.05)],
  [(2811.5,19.75),(2811.5,233.5),(3233.5,233.5),(3233.5,80.25),(3400,80.25),(3400,80.05),(3233.3,80.05),(3233.3,233.3),(2811.7,233.3),(2811.7,19.95),(2900,19.95),(2900,19.75)],
  [(2807.3,5.05),(2807.3,237.7),(3237.7,237.7),(3237.7,119.95),(3400,119.95),(3400,119.75),(3237.5,119.75),(3237.5,237.5),(2807.5,237.5),(2807.5,5.25),(2900,5.25),(2900,5.05)],
  [(2807,4.75),(2807,238),(3238,238),(3238,120.25),(3400,120.25),(3400,120.05),(3237.8,120.05),(3237.8,237.8),(2807.2,237.8),(2807.2,4.95),(2900,4.95),(2900,4.75)],
  [(2802.8,-9.95),(2802.8,242.2),(3242.2,242.2),(3242.2,159.95),(3400,159.95),(3400,159.75),(3242,159.75),(3242,242),(2803,242),(2803,-9.75),(2900,-9.75),(2900,-9.95)],
  [(2802.5,-10.25),(2802.5,242.5),(3242.5,242.5),(3242.5,160.25),(3400,160.25),(3400,160.05),(3242.3,160.05),(3242.3,242.3),(2802.7,242.3),(2802.7,-10.05),(2900,-10.05),(2900,-10.25)],
  [(2798.3,-24.95),(2798.3,246.7),(3246.7,246.7),(3246.7,199.95),(3400,199.95),(3400,199.75),(3246.5,199.75),(3246.5,246.5),(2798.5,246.5),(2798.5,-24.75),(2900,-24.75),(2900,-24.95)],
  [(2798,-25.25),(2798,247),(3247,247),(3247,200.25),(3400,200.25),(3400,200.05),(3246.8,200.05),(3246.8,246.8),(2798.2,246.8),(2798.2,-25.05),(2900,-25.05),(2900,-25.25)],
  [(2793.8,-39.95),(2793.8,251.2),(3251.2,251.2),(3251.2,239.95),(3400,239.95),(3400,239.75),(3251,239.75),(3251,251),(2794,251),(2794,-39.75),(2900,-39.75),(2900,-39.95)],
  [(2793.5,-40.25),(2793.5,251.5),(3251.5,251.5),(3251.5,240.25),(3400,240.25),(3400,240.05),(3251.3,240.05),(3251.3,251.3),(2793.7,251.3),(2793.7,-40.05),(2900,-40.05),(2900,-40.25)],
  [(2789.3,-54.95),(2789.3,279.95),(3400,279.95),(3400,279.75),(2789.5,279.75),(2789.5,-54.75),(2900,-54.75),(2900,-54.95)],
  [(2789,-55.25),(2789,280.25),(3400,280.25),(3400,280.05),(2789.2,280.05),(2789.2,-55.05),(2900,-55.05),(2900,-55.25)],
  [(2784.8,-69.95),(2784.8,319.95),(3400,319.95),(3400,319.75),(2785,319.75),(2785,-69.75),(2900,-69.75),(2900,-69.95)],
  [(2784.5,-70.25),(2784.5,320.25),(3400,320.25),(3400,320.05),(2784.7,320.05),(2784.7,-70.05),(2900,-70.05),(2900,-70.25)],
  [(2780.3,-84.95),(2780.3,359.95),(3400,359.95),(3400,359.75),(2780.5,359.75),(2780.5,-84.75),(2900,-84.75),(2900,-84.95)],
  [(2780,-85.25),(2780,360.25),(3400,360.25),(3400,360.05),(2780.2,360.05),(2780.2,-85.05),(2900,-85.05),(2900,-85.25)],
  [(2757.8,-197.2),(2757.8,559.95),(3400,559.95),(3400,559.75),(2758,559.75),(2758,-197),(2964.75,-197),(2964.75,-100),(2964.95,-100),(2964.95,-197.2)],
  [(2757.5,-197.5),(2757.5,560.25),(3400,560.25),(3400,560.05),(2757.7,560.05),(2757.7,-197.3),(2965.05,-197.3),(2965.05,-100),(2965.25,-100),(2965.25,-197.5)],
  [(2762.3,-192.7),(2762.3,519.95),(3400,519.95),(3400,519.75),(2762.5,519.75),(2762.5,-192.5),(2949.75,-192.5),(2949.75,-100),(2949.95,-100),(2949.95,-192.7)],
  [(2762,-193),(2762,520.25),(3400,520.25),(3400,520.05),(2762.2,520.05),(2762.2,-192.8),(2950.05,-192.8),(2950.05,-100),(2950.25,-100),(2950.25,-193)],
  [(2766.8,-188.2),(2766.8,479.95),(3400,479.95),(3400,479.75),(2767,479.75),(2767,-188),(2934.75,-188),(2934.75,-100),(2934.95,-100),(2934.95,-188.2)],
  [(2766.5,-188.5),(2766.5,480.25),(3400,480.25),(3400,480.05),(2766.7,480.05),(2766.7,-188.3),(2935.05,-188.3),(2935.05,-100),(2935.25,-100),(2935.25,-188.5)],
  [(2771.3,-183.7),(2771.3,439.95),(3400,439.95),(3400,439.75),(2771.5,439.75),(2771.5,-183.5),(2919.75,-183.5),(2919.75,-100),(2919.95,-100),(2919.95,-183.7)],
  [(2771,-184),(2771,440.25),(3400,440.25),(3400,440.05),(2771.2,440.05),(2771.2,-183.8),(2920.05,-183.8),(2920.05,-100),(2920.25,-100),(2920.25,-184)],
  [(2775.8,-179.2),(2775.8,399.95),(3400,399.95),(3400,399.75),(2776,399.75),(2776,-179),(2904.75,-179),(2904.75,-100),(2904.95,-100),(2904.95,-179.2)],
  [(2775.5,-179.5),(2775.5,400.25),(3400,400.25),(3400,400.05),(2775.7,400.05),(2775.7,-179.3),(2905.05,-179.3),(2905.05,-100),(2905.25,-100),(2905.25,-179.5)])
R(test_smart_routing_start, FLOORPLAN, [(-175,-175,175,175), (2825,-175,3175,175), (-175,2825,175,3175), (2825,2825,3175,3175)])
P(test_smart_routing_start, FLOORPLAN, [(-400,-560),(-400,600),(-400,600),(-400,-560)],
  [(-600,2600),(-600,2600),(560,2600),(560,2600)],
  [(3400,-600),(3400,560),(3400,560),(3400,-600)],
  [(2440,3400),(2440,3400),(3600,3400),(3600,3400)])

lib.write_gds('test_smart_routing_start_bboxTrue_sort_portsFalse_indirectFalse_start_angle-1m2True_m1False_zTrue_p1True_p2True.gds')
